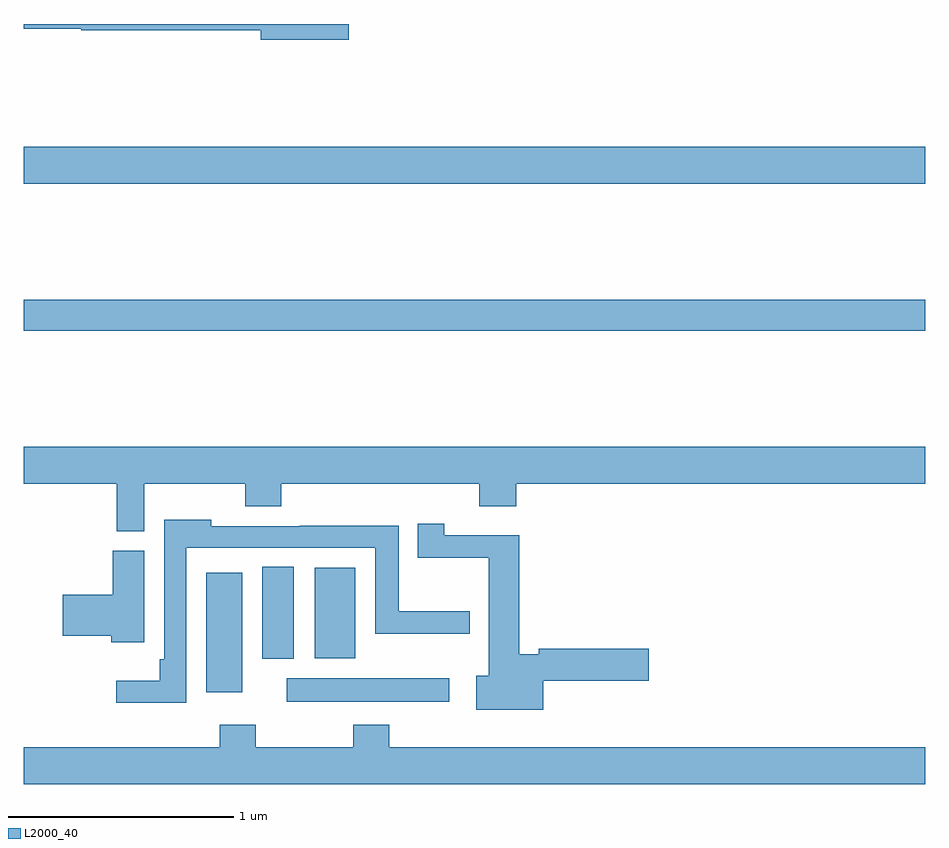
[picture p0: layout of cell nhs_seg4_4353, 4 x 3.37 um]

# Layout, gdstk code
import gdstk
lib = gdstk.Library(unit=1e-6, precision=1e-09)
def R(c, l, rs):  # rectangles x0, y0, x1, y1
    for r in rs: c.add(gdstk.rectangle(r[:2], r[2:], *l))
def P(c, l, *ps):  # polygons
    for p in ps: c.add(gdstk.Polygon(p, *l))
L2000_40 = (2000, 40)

nhs_seg4_4353 = lib.new_cell('nhs_seg4_4353')
R(nhs_seg4_4353, L2000_40, [(346.167,755.894,346.888,755.998), (345.809,755.934,345.97,756.466), (346.058,756.083,346.198,756.491), (346.292,756.086,346.471,756.487), (345,757.54,349,757.676), (345,758.192,349,758.356)])
P(nhs_seg4_4353, L2000_40, [(346.441,758.9),(345,758.9),(345,758.88),(345.256,758.88),(345.256,758.872),(346.052,758.872),(346.052,758.83),(346.441,758.83)],
  [(345.535,756.86),(345.982,756.86),(345.982,756.761),(346.142,756.761),(346.142,756.86),(347.021,756.86),(347.021,756.761),(347.186,756.761),(347.186,756.86),(349,756.86),(349,757.024),(345,757.024),(345,756.86),(345.412,756.86),(345.412,756.649),(345.535,756.649)],
  [(345.72,756.576),(346.559,756.576),(346.559,756.194),(346.978,756.194),(346.978,756.294),(346.663,756.294),(346.663,756.674),(346.225,756.674),(346.225,756.672),(345.831,756.672),(345.831,756.7),(345.624,756.7),(345.624,756.082),(345.604,756.082),(345.604,755.986),(345.411,755.986),(345.411,755.888),(345.72,755.888)],
  [(347.305,755.986),(347.773,755.986),(347.773,756.128),(347.285,756.128),(347.285,756.103),(347.198,756.103),(347.198,756.631),(346.866,756.631),(346.866,756.682),(346.748,756.682),(346.748,756.532),(347.063,756.532),(347.063,756.008),(347.007,756.008),(347.007,755.858),(347.305,755.858)],
  [(345.535,756.564),(345.394,756.564),(345.394,756.368),(345.174,756.368),(345.174,756.185),(345.389,756.185),(345.389,756.158),(345.535,756.158)],
  [(349,755.692),(346.622,755.692),(346.622,755.791),(346.462,755.791),(346.462,755.692),(346.029,755.692),(346.029,755.791),(345.869,755.791),(345.869,755.692),(345,755.692),(345,755.528),(349,755.528)])

lib.write_gds('nhs_seg4_4353.gds')
